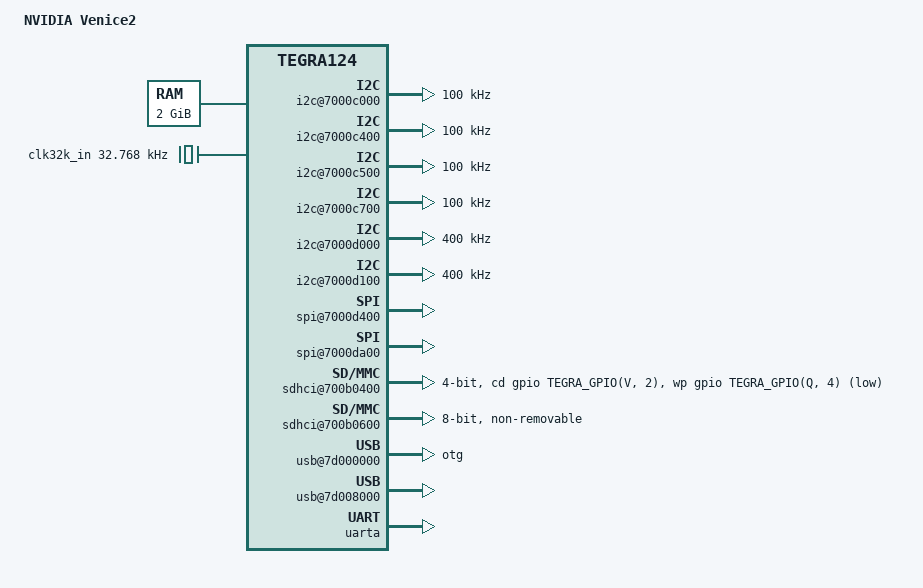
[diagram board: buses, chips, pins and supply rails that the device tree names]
/dts-v1/;

#include "tegra124.dtsi"

/ {
	model = "NVIDIA Venice2";
	compatible = "nvidia,venice2", "nvidia,tegra124";

	chosen {
		stdout-path = &uarta;
	};

	aliases {
		i2c0 = "/i2c@7000d000";
		i2c1 = "/i2c@7000c000";
		i2c2 = "/i2c@7000c400";
		i2c3 = "/i2c@7000c500";
		i2c4 = "/i2c@7000c700";
		i2c5 = "/i2c@7000d100";
		mmc0 = "/sdhci@700b0600";
		mmc1 = "/sdhci@700b0400";
		spi0 = "/spi@7000d400";
		spi1 = "/spi@7000da00";
		usb0 = "/usb@7d000000";
		usb1 = "/usb@7d008000";
	};

	memory {
		device_type = "memory";
		reg = <0x80000000 0x80000000>;
	};

	i2c@7000c000 {
		status = "okay";
		clock-frequency = <100000>;
	};

	i2c@7000c400 {
		status = "okay";
		clock-frequency = <100000>;
	};

	i2c@7000c500 {
		status = "okay";
		clock-frequency = <100000>;
	};

	i2c@7000c700 {
		status = "okay";
		clock-frequency = <100000>;
	};

	i2c@7000d000 {
		status = "okay";
		clock-frequency = <400000>;
	};

	i2c@7000d100 {
		status = "okay";
		clock-frequency = <400000>;
	};

	spi@7000d400 {
		status = "okay";
		spi-max-frequency = <25000000>;
	};

	spi@7000da00 {
		status = "okay";
		spi-max-frequency = <25000000>;
	};

	sdhci@700b0400 {
		status = "okay";
		cd-gpios = <&gpio TEGRA_GPIO(V, 2) GPIO_ACTIVE_HIGH>;
		power-gpios = <&gpio TEGRA_GPIO(R, 0) GPIO_ACTIVE_HIGH>;
		wp-gpios = <&gpio TEGRA_GPIO(Q, 4) GPIO_ACTIVE_LOW>;
		bus-width = <4>;
	};

	sdhci@700b0600 {
		status = "okay";
		bus-width = <8>;
		non-removable;
	};

	usb@7d000000 {
		status = "okay";
		dr_mode = "otg";
		nvidia,vbus-gpio = <&gpio TEGRA_GPIO(N, 4) GPIO_ACTIVE_HIGH>;
	};

	usb@7d008000 {
		status = "okay";
		nvidia,vbus-gpio = <&gpio TEGRA_GPIO(N, 5) GPIO_ACTIVE_HIGH>;
	};

	clocks {
		compatible = "simple-bus";
		#address-cells = <1>;
		#size-cells = <0>;

		clk32k_in: clock@0 {
			compatible = "fixed-clock";
			reg = <0>;
			#clock-cells = <0>;
			clock-frequency = <32768>;
		};
	};

};

&uarta {
	status = "okay";
};
